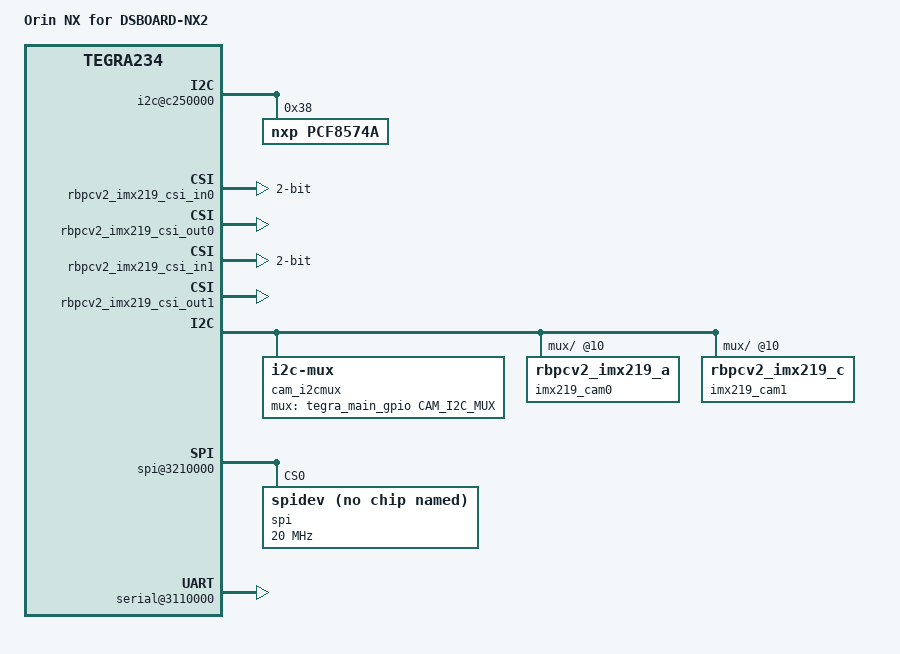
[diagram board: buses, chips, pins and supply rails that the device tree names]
/*
 * Top level DTS file for CVM:P3767-0000 and CVB:DSBOARD-NX2.
 *
 * Copyright (c) 2021-2022, NVIDIA CORPORATION.  All rights reserved.
 *
 * This program is free software; you can redistribute it and/or modify
 * it under the terms of the GNU General Public License as published by
 * the Free Software Foundation; version 2 of the License.
 *
 * This program is distributed in the hope that it will be useful, but WITHOUT
 * ANY WARRANTY; without even the implied warranty of MERCHANTABILITY or
 * FITNESS FOR A PARTICULAR PURPOSE.  See the GNU General Public License for
 * more details.
 */

/dts-v1/;
#include "tegra234-dcb-p3767-0000-hdmi.dtsi"
#include <tegra234-soc/mods-simple-bus.dtsi>
#include <t234-common-cvm/tegra234-thermal.dtsi>
#include <t234-common-cvm/tegra234-cpuidle.dtsi>
#include <t234-common-cvm/tegra234-thermal-cooling.dtsi>
#include <t234-common-cvm/tegra234-thermal-userspace-alert.dtsi>
#include "cvm/tegra234-p3767-0000.dtsi"
#include "cvb/tegra234-p3509-a02.dtsi"

#undef CAM_I2C_MUX
#define CAM_I2C_MUX TEGRA234_MAIN_GPIO(Q, 6)

/ {
	nvidia,dtsfilename = __FILE__;
	nvidia,dtbbuildtime = __DATE__, __TIME__;
	compatible = "nvidia,p3509-0000+p3767-0000", "nvidia,tegra234", "nvidia,tegra23x";
	model = "Orin NX for DSBOARD-NX2";
	//model = "Orin NX for DSBOARD-NX2 (rev-1.21; 1.1 & 1.0)";

	i2c@c250000 {
		pcf8574a: gpio@38 {
			compatible = "nxp,pcf8574a";
			reg = <0x38>;
			//interrupt-parent = <&irqpin2>;
			//interrupts = <3 0>;
			gpio-controller;
			#gpio-cells = <2>;
			//interrupt-controller;
			//#interrupt-cells = <2>;
		};
	};


	tegra-capture-vi  {
		ports {
			port@0 {
				rbpcv2_imx219_vi_in0: endpoint {
					status = "okay";
					port-index = <0>;
					bus-width = <2>;
					remote-endpoint = <&rbpcv2_imx219_csi_out0>;
				};
			};
			port@1 {
				rbpcv2_imx219_vi_in1: endpoint {
					status = "okay";
					port-index = <2>;
					bus-width = <2>;
					remote-endpoint = <&rbpcv2_imx219_csi_out1>;
				};
			};
		};
	};

	host1x@13e00000 {
		nvcsi@15a00000 {
			channel@0 {
				ports {
					port@0 {
						rbpcv2_imx219_csi_in0: endpoint@0 {
							status = "okay";
							port-index = <0>;
							bus-width = <2>;
							remote-endpoint = <&rbpcv2_imx219_out0>;
						};
					};
					port@1 {
						rbpcv2_imx219_csi_out0: endpoint@1 {
							status = "okay";
						};
					};
				};
			};
			channel@1 {
				ports {
					port@0 {
						rbpcv2_imx219_csi_in1: endpoint@2 {
							status = "okay";
							port-index = <2>;
							bus-width = <2>;
							remote-endpoint = <&rbpcv2_imx219_out1>;
						};
					};
					port@1 {
						rbpcv2_imx219_csi_out1: endpoint@3 {
							status = "okay";
						};
					};
				};
			};
		};
	};

	cam_i2cmux{
		status = "okay";//
		mux-gpios = <&tegra_main_gpio CAM_I2C_MUX GPIO_ACTIVE_HIGH>;
		i2c@0 {
			status = "okay";//
			imx219_cam0: rbpcv2_imx219_a@10 {
				status = "okay";
			};
		};
		i2c@1 {
			status = "okay";//
			imx219_cam1: rbpcv2_imx219_c@10 {
				status = "okay";
			};
		};
	};

	gpio@2200000 {
		camera-control-output-low {
			status = "okay";//
		};
	};

	tegra-camera-platform {
		modules {
			cam_module0: module0 {	
				status = "okay";
				badge = "jakku_front_RBP194";
				position = "front";
				orientation = "1";

				cam_module0_drivernode0: drivernode0 {
					status = "okay";
					pcl_id = "v4l2_sensor";
					devname = "imx219 9-0010";
					proc-device-tree = "/proc/device-tree/cam_i2cmux/i2c@0/rbpcv2_imx219_a@10";
				};
			};
			cam_module1: module1 {
				status = "okay";
				badge = "jakku_rear_RBP194";
				position = "rear";
				orientation = "1";

				cam_module1_drivernode0: drivernode0 {
					status = "okay";
					pcl_id = "v4l2_sensor";
					devname = "imx219 10-0010";
					proc-device-tree = "/proc/device-tree/cam_i2cmux/i2c@1/rbpcv2_imx219_c@10";
				};
			};
		};
	};

	spi@3210000{ // SPI0 with CS0 on expansion connector
		status = "okay";
		nvidia,clock-always-on;
		spi@0 {
			status = "okay";
			compatible = "spidev";
			reg = <0x0>;
			spi-max-frequency = <20000000>;
			nvidia,enable-hw-based-cs;
			nvidia,enable-hw-based-cs;
			nvidia,cs-setup-clk-count = <0x1e>;
			nvidia,cs-hold-clk-count = <0x1e>;
			nvidia,rx-clk-tap-delay = <0x1f>;
			nvidia,tx-clk-tap-delay = <0x0>;
		};
	};

	serial@3110000 { // UART0 (uartb) on expansion connector
		status = "okay";
	};


/*
	pwm-fan {
		status = "disabled";
	};
*/
};
